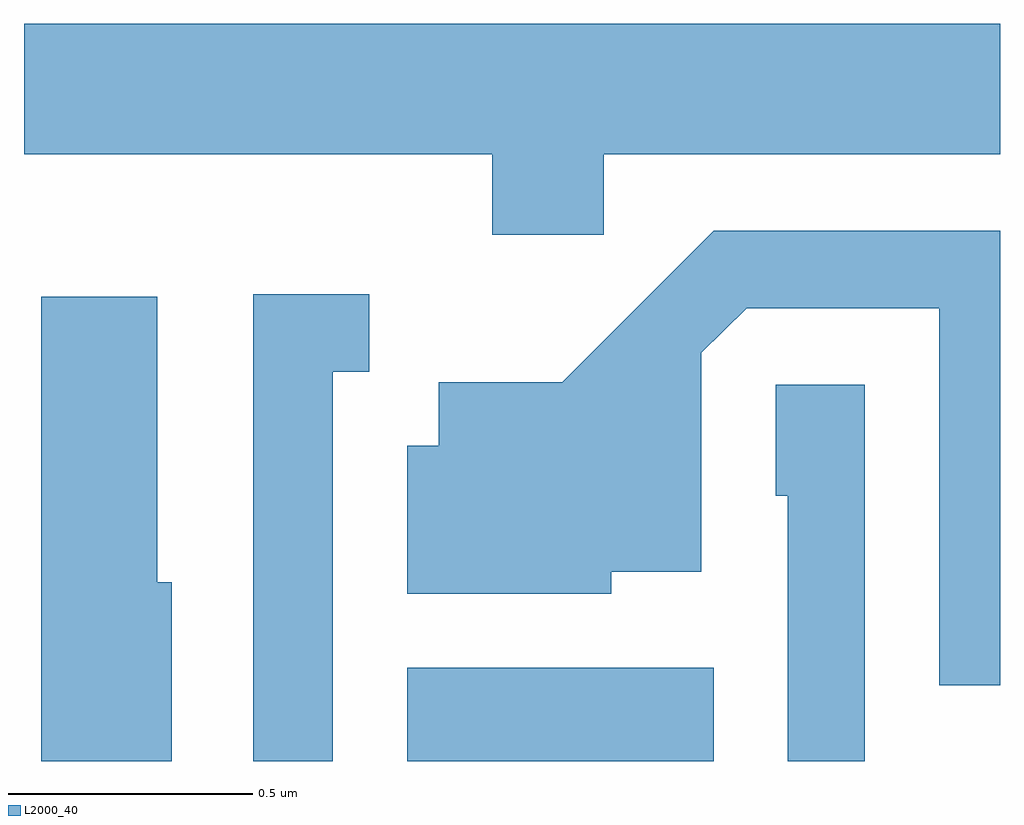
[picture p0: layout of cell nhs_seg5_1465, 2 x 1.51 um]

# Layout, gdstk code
import gdstk
lib = gdstk.Library(unit=1e-6, precision=1e-09)
def R(c, l, rs):  # rectangles x0, y0, x1, y1
    for r in rs: c.add(gdstk.rectangle(r[:2], r[2:], *l))
def P(c, l, *ps):  # polygons
    for p in ps: c.add(gdstk.Polygon(p, *l))
L2000_40 = (2000, 40)

nhs_seg5_1465 = lib.new_cell('nhs_seg5_1465')
R(nhs_seg5_1465, L2000_40, [(196.396,1491.072,197.024,1491.264)])
P(nhs_seg5_1465, L2000_40, [(196.799,1492.316),(197.611,1492.316),(197.611,1492.584),(195.611,1492.584),(195.611,1492.316),(196.571,1492.316),(196.571,1492.151),(196.799,1492.151)],
  [(197.611,1492.159),(197.024,1492.159),(196.714,1491.849),(196.461,1491.849),(196.461,1491.719),(196.396,1491.719),(196.396,1491.416),(196.814,1491.416),(196.814,1491.461),(196.999,1491.461),(196.999,1491.909),(197.092,1492.001),(197.486,1492.001),(197.486,1491.228),(197.611,1491.228)],
  [(196.244,1491.871),(196.318,1491.871),(196.318,1492.029),(196.081,1492.029),(196.081,1491.072),(196.244,1491.072)],
  [(195.914,1491.439),(195.884,1491.439),(195.884,1492.024),(195.646,1492.024),(195.646,1491.072),(195.914,1491.072)],
  [(197.334,1491.844),(197.151,1491.844),(197.151,1491.616),(197.176,1491.616),(197.176,1491.072),(197.334,1491.072)])

lib.write_gds('nhs_seg5_1465.gds')
